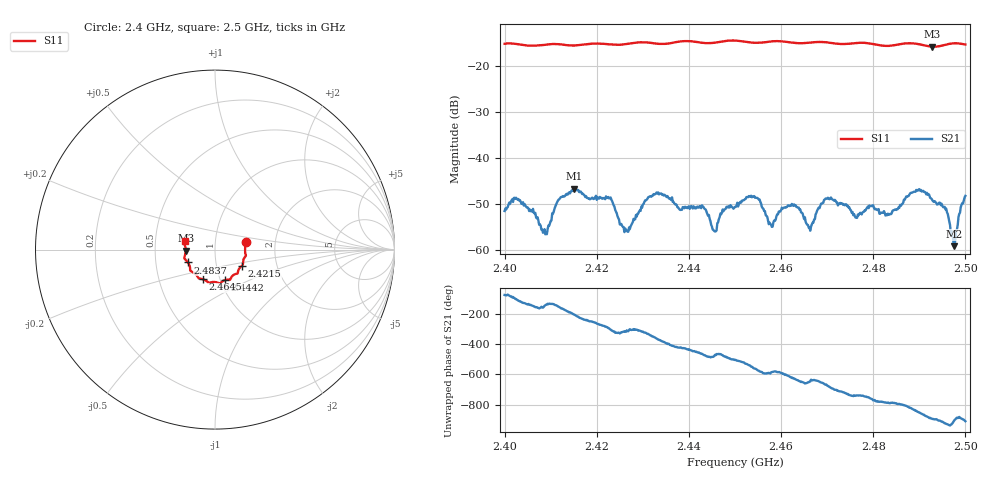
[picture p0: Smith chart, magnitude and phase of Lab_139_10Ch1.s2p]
# Hz S RI R 50
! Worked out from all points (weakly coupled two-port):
!   601 points, 2.4 GHz to 2.5 GHz, reference 50 ohm
!   highest |S21| = -46.65 dB at 2.4152 GHz (marker M1); lowest = -59.1 dB at 2.4975 GHz (marker M2)
!   lowest |S11| = -15.7 dB at 2.4928 GHz (marker M3), VSWR 1.39, Z = 35.9 - j0.378 ohm
!   |S11| at or under -10 dB: start of sweep to end of sweep
!   S12 and S22 are empty: the file has one direction only
!   S11 on the Smith chart (normalised r, x): 2.4 GHz: 1.41, +0.12; 2.4215 GHz: 1.33, -0.25; 2.4442 GHz: 1.05, -0.37; 2.4645 GHz: 0.83, -0.29; 2.4837 GHz: 0.73, -0.11; 2.5 GHz: 0.71, +0.07
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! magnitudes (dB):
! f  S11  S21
! 2.4 GHz  -15.1  -51.5
! 2.4028 GHz  -15.2  -49.0
! 2.4088 GHz  -15.3  -56.6
! 2.4152 GHz  -15.5  -46.7
! 2.4167 GHz  -15.3  -47.5
! 2.4215 GHz  -15.1  -48.7
! 2.4265 GHz  -15.1  -55.7
! 2.4333 GHz  -15.1  -47.4
! 2.4442 GHz  -15.0  -52.5
! 2.4455 GHz  -14.9  -55.8
! 2.45 GHz  -14.4  -50.6
! 2.4545 GHz  -14.9  -48.6
! 2.4578 GHz  -14.6  -54.5
! 2.4645 GHz  -15.0  -51.9
! 2.4667 GHz  -14.8  -54.4
! 2.4703 GHz  -14.8  -48.8
! 2.4833 GHz  -15.6  -52.3
! 2.4837 GHz  -15.5  -52.1
! 2.4895 GHz  -15.1  -47.0
! 2.4928 GHz  -15.7  -49.1
! 2.4975 GHz  -15.0  -59.1
! 2.5 GHz  -15.3  -48.2
